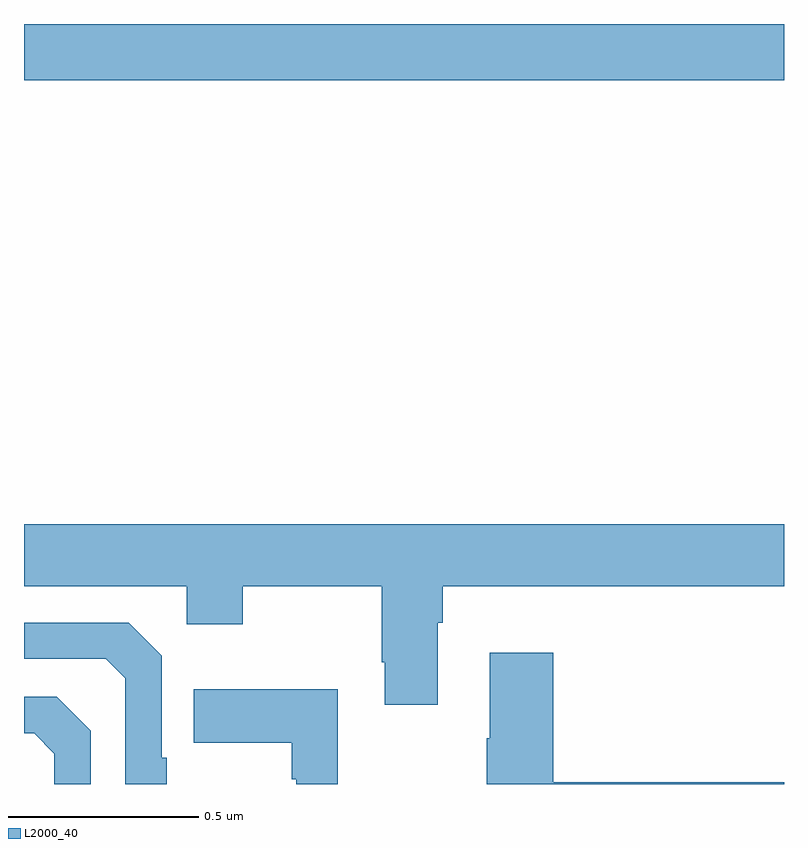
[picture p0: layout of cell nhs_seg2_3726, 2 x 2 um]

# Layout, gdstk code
import gdstk
lib = gdstk.Library(unit=1e-6, precision=1e-09)
def R(c, l, rs):  # rectangles x0, y0, x1, y1
    for r in rs: c.add(gdstk.rectangle(r[:2], r[2:], *l))
def P(c, l, *ps):  # polygons
    for p in ps: c.add(gdstk.Polygon(p, *l))
L2000_40 = (2000, 40)

nhs_seg2_3726 = lib.new_cell('nhs_seg2_3726')
R(nhs_seg2_3726, L2000_40, [(157,631.652,159,631.8)])
P(nhs_seg2_3726, L2000_40, [(158.089,630.224),(158.102,630.224),(158.102,630.32),(159,630.32),(159,630.484),(157,630.484),(157,630.32),(157.428,630.32),(157.428,630.221),(157.575,630.221),(157.575,630.32),(157.942,630.32),(157.942,630.121),(157.949,630.121),(157.949,630.009),(158.089,630.009)],
  [(157.375,629.869),(157.362,629.869),(157.362,630.138),(157.275,630.225),(157,630.225),(157,630.129),(157.215,630.129),(157.266,630.078),(157.266,629.8),(157.375,629.8)],
  [(159,629.804),(158.393,629.804),(158.393,630.145),(158.225,630.145),(158.225,629.921),(158.218,629.921),(158.218,629.8),(159,629.8)],
  [(157.825,630.049),(157.447,630.049),(157.447,629.909),(157.704,629.909),(157.704,629.813),(157.716,629.813),(157.716,629.8),(157.825,629.8)],
  [(157.176,629.94),(157.086,630.03),(157,630.03),(157,629.933),(157.027,629.933),(157.08,629.88),(157.08,629.8),(157.176,629.8)])

lib.write_gds('nhs_seg2_3726.gds')
